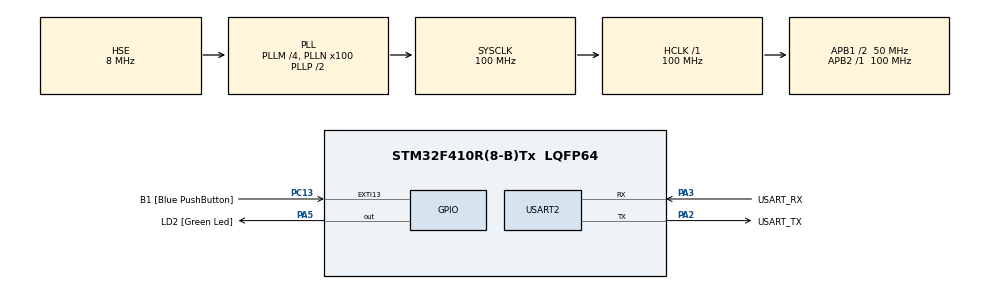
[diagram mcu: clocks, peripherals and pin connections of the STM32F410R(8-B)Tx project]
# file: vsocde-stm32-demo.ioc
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Mcu.Family=STM32F4
RCC.PLLSourceVirtual=RCC_PLLSOURCE_HSE
PC15-OSC32_OUT.Mode=LSE-External-Oscillator
RCC.CortexFreq_Value=100000000
PC13-ANTI_TAMP.GPIO_Label=B1 [Blue PushButton]
PA14.GPIO_Label=TCK
PH1\ -\ OSC_OUT.Mode=HSE-External-Oscillator
RCC.APB1CLKDivider=RCC_HCLK_DIV2
PC14-OSC32_IN.Signal=RCC_OSC32_IN
RCC.SYSCLKSource=RCC_SYSCLKSOURCE_PLLCLK
ProjectManager.StackSize=0x400
PA13.Signal=SYS_JTMS-SWDIO
PA3.Mode=Asynchronous
PH0\ -\ OSC_IN.Mode=HSE-External-Oscillator
PH0\ -\ OSC_IN.Signal=RCC_OSC_IN
ProjectManager.TargetToolchain=Makefile
RCC.HCLKFreq_Value=100000000
RCC.APB2TimFreq_Value=100000000
PC15-OSC32_OUT.Signal=RCC_OSC32_OUT
RCC.AHBFreq_Value=100000000
PA5.Signal=GPIO_Output
RCC.HSE_VALUE=8000000
PH1\ -\ OSC_OUT.Signal=RCC_OSC_OUT
board=NUCLEO-F410RB
PC13-ANTI_TAMP.Signal=GPXTI13
RCC.VCOOutputFreq_Value=200000000
RCC.APB2Freq_Value=100000000
PC14-OSC32_IN.Mode=LSE-External-Oscillator
PA14.Mode=Serial_Wire
PA13.Mode=Serial_Wire
Mcu.Name=STM32F410R(8-B)Tx
PA2.Signal=USART2_TX
PA13.GPIO_Label=TMS
RCC.FLatency-AdvancedSettings=FLASH_LATENCY_3
RCC.48MHZClocksFreq_Value=50000000
PB3.Signal=SYS_JTDO-SWO
RCC.SYSCLKFreq_VALUE=100000000
Mcu.Package=LQFP64
PA5.GPIO_Label=LD2 [Green Led]
USART2.VirtualMode=VM_ASYNC
PC13-ANTI_TAMP.GPIO_ModeDefaultEXTI=GPIO_MODE_IT_FALLING
PA2.GPIO_Label=USART_TX
PA14.Signal=SYS_JTCK-SWCLK
ProjectManager.HeapSize=0x200
RCC.HSI_VALUE=16000000
NVIC.PriorityGroup=NVIC_PRIORITYGROUP_0
RCC.PLLM=4
RCC.PLLN=100
RCC.APB1TimFreq_Value=100000000
PA2.Mode=Asynchronous
RCC.APB1Freq_Value=50000000
PA3.GPIO_Label=USART_RX
PA3.Signal=USART2_RX
PB3.GPIO_Label=SWO

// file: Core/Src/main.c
/* USER CODE BEGIN Header */
/**
  ******************************************************************************
  * @file           : main.c
  * @brief          : Main program body
  ******************************************************************************
  * @attention
  *
  * <h2><center>&copy; Copyright (c) 2020 STMicroelectronics.
  * All rights reserved.</center></h2>
  *
  * This software component is licensed by ST under BSD 3-Clause license,
  * the "License"; You may not use this file except in compliance with the
  * License. You may obtain a copy of the License at:
  *                        opensource.org/licenses/BSD-3-Clause
  *
  ******************************************************************************
  */
/* USER CODE END Header */
#include "main.h"
#include "usart.h"
#include "gpio.h"

/* USER CODE BEGIN Includes */
#include "stdio.h"
/* USER CODE END Includes */

void SystemClock_Config(void);

/* USER CODE BEGIN 0 */
#ifdef __GNUC__
  #define PUTCHAR_PROTOTYPE int __io_putchar(int ch)
#else
  #define PUTCHAR_PROTOTYPE int fputc(int ch, FILE *f)
#endif
PUTCHAR_PROTOTYPE
{
  uint8_t temp[1] = {ch};
  HAL_UART_Transmit(&huart2, temp, 1, 0xffff);
  return ch;
}

int _write(int file, char *ptr, int len)
{
  int DataIdx;
  for (DataIdx=0; DataIdx<len; DataIdx++)
  {
    __io_putchar(*ptr++);
  }
  return len;
}
/* USER CODE END 0 */

int main(void)
{

  /* MCU Configuration--------------------------------------------------------*/

  /* Reset of all peripherals, Initializes the Flash interface and the Systick. */
  HAL_Init();

  /* Configure the system clock */
  SystemClock_Config();

  /* Initialize all configured peripherals */
  MX_GPIO_Init();
  MX_USART2_UART_Init();
  /* USER CODE BEGIN 2 */
  printf("Hello World!\n");
  float i = 3.14f;
  /* USER CODE END 2 */

  /* Infinite loop */
  while (1)
  {

    /* USER CODE BEGIN 3 */
    HAL_GPIO_TogglePin(LD2_GPIO_Port, LD2_Pin);
    HAL_Delay(200);
    printf("temp: %f\n", i);
  }
  /* USER CODE END 3 */
}

void SystemClock_Config(void)
{
  RCC_OscInitTypeDef RCC_OscInitStruct = {0};
  RCC_ClkInitTypeDef RCC_ClkInitStruct = {0};

  /** Configure the main internal regulator output voltage
  */
  __HAL_RCC_PWR_CLK_ENABLE();
  __HAL_PWR_VOLTAGESCALING_CONFIG(PWR_REGULATOR_VOLTAGE_SCALE1);
  /** Initializes the RCC Oscillators according to the specified parameters
  * in the RCC_OscInitTypeDef structure.
  */
  RCC_OscInitStruct.OscillatorType = RCC_OSCILLATORTYPE_HSE;
  RCC_OscInitStruct.HSEState = RCC_HSE_ON;
  RCC_OscInitStruct.PLL.PLLState = RCC_PLL_ON;
  RCC_OscInitStruct.PLL.PLLSource = RCC_PLLSOURCE_HSE;
  RCC_OscInitStruct.PLL.PLLM = 4;
  RCC_OscInitStruct.PLL.PLLN = 100;
  RCC_OscInitStruct.PLL.PLLP = RCC_PLLP_DIV2;
  RCC_OscInitStruct.PLL.PLLQ = 4;
  RCC_OscInitStruct.PLL.PLLR = 2;
  if (HAL_RCC_OscConfig(&RCC_OscInitStruct) != HAL_OK)
  {
    Error_Handler();
  }
  /** Initializes the CPU, AHB and APB buses clocks
  */
  RCC_ClkInitStruct.ClockType = RCC_CLOCKTYPE_HCLK|RCC_CLOCKTYPE_SYSCLK
                              |RCC_CLOCKTYPE_PCLK1|RCC_CLOCKTYPE_PCLK2;
  RCC_ClkInitStruct.SYSCLKSource = RCC_SYSCLKSOURCE_PLLCLK;
  RCC_ClkInitStruct.AHBCLKDivider = RCC_SYSCLK_DIV1;
  RCC_ClkInitStruct.APB1CLKDivider = RCC_HCLK_DIV2;
  RCC_ClkInitStruct.APB2CLKDivider = RCC_HCLK_DIV1;

  if (HAL_RCC_ClockConfig(&RCC_ClkInitStruct, FLASH_LATENCY_3) != HAL_OK)
  {
    Error_Handler();
  }
}

void Error_Handler(void)
{
}

/************************ (C) COPYRIGHT STMicroelectronics *****END OF FILE****/
